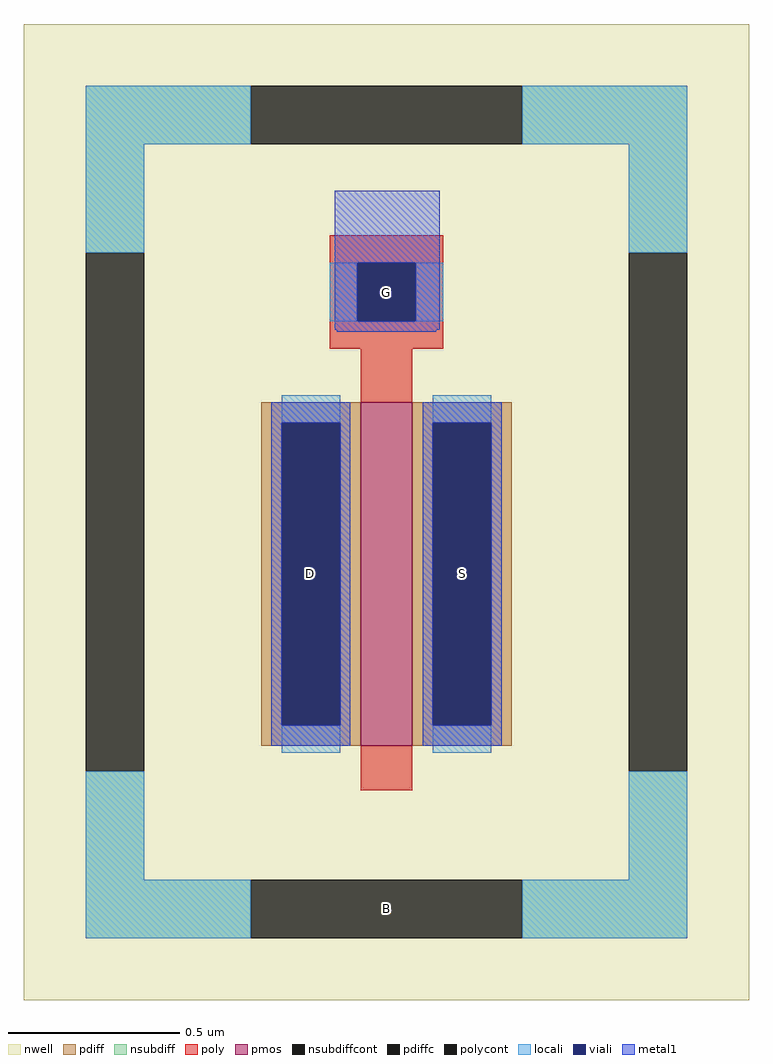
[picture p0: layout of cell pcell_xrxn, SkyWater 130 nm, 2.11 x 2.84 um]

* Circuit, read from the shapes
.subckt pcell_xrxn B D S G
XM1 S G D B sky130_fd_pr__pfet_01v8 w=1 l=0.15
.ends

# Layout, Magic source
magic
tech sky130A
magscale 1 2
<< nwell >>
rect -211 -284 211 284
<< pmos >>
rect -15 -136 15 64
<< pdiff >>
rect -73 52 -15 64
rect -73 -124 -61 52
rect -27 -124 -15 52
rect -73 -136 -15 -124
rect 15 52 73 64
rect 15 -124 27 52
rect 61 -124 73 52
rect 15 -136 73 -124
<< pdiffc >>
rect -61 -124 -27 52
rect 27 -124 61 52
<< nsubdiff >>
rect -175 214 -79 248
rect 79 214 175 248
rect -175 151 -141 214
rect 141 151 175 214
rect -175 -214 -141 -151
rect 141 -214 175 -151
rect -175 -248 -79 -214
rect 79 -248 175 -214
<< nsubdiffcont >>
rect -79 214 79 248
rect -175 -151 -141 151
rect 141 -151 175 151
rect -79 -248 79 -214
<< poly >>
rect -33 145 33 161
rect -33 111 -17 145
rect 17 111 33 145
rect -33 95 33 111
rect -15 64 15 95
rect -15 -162 15 -136
<< polycont >>
rect -17 111 17 145
<< locali >>
rect -175 214 -79 248
rect 79 214 175 248
rect -175 151 -141 214
rect 141 151 175 214
rect -33 111 -17 145
rect 17 111 33 145
rect -61 52 -27 68
rect -61 -140 -27 -124
rect 27 52 61 68
rect 27 -140 61 -124
rect -175 -214 -141 -151
rect 141 -214 175 -151
rect -175 -248 -79 -214
rect 79 -248 175 -214
<< viali >>
rect -17 111 17 145
rect -61 -124 -27 52
rect 27 -124 61 52
<< metal1 >>
rect -30 145 31 187
rect -30 111 -17 145
rect 17 111 31 145
rect -30 106 31 111
rect -29 105 29 106
rect -67 52 -21 64
rect -67 -124 -61 52
rect -27 -124 -21 52
rect -67 -136 -21 -124
rect 21 52 67 64
rect 21 -124 27 52
rect 61 -124 67 52
rect 21 -136 67 -124
<< labels >>
rlabel nsubdiffcont 0 -231 0 -231 0 B
port 1 nsew
rlabel pdiffc -44 -36 -44 -36 0 D
port 2 nsew
rlabel pdiffc 44 -36 44 -36 0 S
port 3 nsew
rlabel polycont 0 128 0 128 0 G
port 4 nsew
<< end >>
